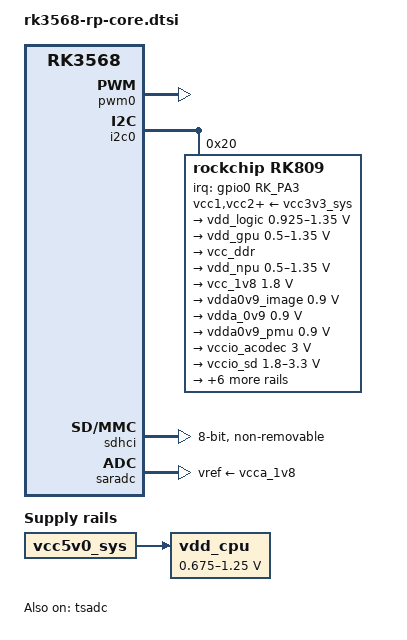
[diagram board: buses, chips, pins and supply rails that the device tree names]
// SPDX-License-Identifier: (GPL-2.0+ OR MIT)
/* RP-RK3568-C-V11 core: supplies cross-checked against the live BSP DT. */
#include <dt-bindings/gpio/gpio.h>
#include <dt-bindings/pinctrl/rockchip.h>
#include <dt-bindings/pwm/pwm.h>
#include "rk3568.dtsi"

/ {
	reserved-memory {
		#address-cells = <2>;
		#size-cells = <2>;
		ranges;

		/* The public image's BL32 remains active when chainloading U-Boot. */
		legacy_tee: tee@8400000 {
			reg = <0x0 0x08400000 0x0 0x01000000>;
			no-map;
		};
	};
	vdd_cpu: regulator-vdd-cpu {
		compatible = "pwm-regulator";
		pwms = <&pwm0 0 5000 PWM_POLARITY_INVERTED>;
		regulator-name = "vdd_cpu";
		regulator-min-microvolt = <675000>;
		regulator-max-microvolt = <1250000>;
		regulator-always-on;
		regulator-boot-on;
		regulator-settling-time-up-us = <250>;
		pwm-supply = <&vcc5v0_sys>;
	};
};

&cpu0 { cpu-supply = <&vdd_cpu>; };
&cpu1 { cpu-supply = <&vdd_cpu>; };
&cpu2 { cpu-supply = <&vdd_cpu>; };
&cpu3 { cpu-supply = <&vdd_cpu>; };
&pwm0 { status = "okay"; };

&i2c0 {
	status = "okay";
	rk809: pmic@20 {
		compatible = "rockchip,rk809";
		reg = <0x20>;
		interrupt-parent = <&gpio0>;
		interrupts = <RK_PA3 IRQ_TYPE_LEVEL_LOW>;
		#clock-cells = <1>;
		pinctrl-names = "default";
		pinctrl-0 = <&pmic_int &pmic_pins>;
		system-power-controller;
		#sound-dai-cells = <0>;
		vcc1-supply = <&vcc3v3_sys>;
		vcc2-supply = <&vcc3v3_sys>;
		vcc3-supply = <&vcc3v3_sys>;
		vcc4-supply = <&vcc3v3_sys>;
		vcc5-supply = <&vcc3v3_sys>;
		vcc6-supply = <&vcc3v3_sys>;
		vcc7-supply = <&vcc3v3_sys>;
		vcc8-supply = <&vcc3v3_sys>;
		vcc9-supply = <&vcc3v3_sys>;
		wakeup-source;

		regulators {
			vdd_logic: DCDC_REG1 {
				regulator-name = "vdd_logic";
				regulator-always-on;
				regulator-boot-on;
				regulator-initial-mode = <0x2>;
				regulator-min-microvolt = <925000>;
				regulator-max-microvolt = <1350000>;
				regulator-ramp-delay = <6001>;

				regulator-state-mem {
					regulator-off-in-suspend;
				};
			};

			vdd_gpu: DCDC_REG2 {
				regulator-boot-on;
				regulator-name = "vdd_gpu";
				regulator-always-on;
				regulator-initial-mode = <0x2>;
				regulator-min-microvolt = <500000>;
				regulator-max-microvolt = <1350000>;
				regulator-ramp-delay = <6001>;

				regulator-state-mem {
					regulator-off-in-suspend;
				};
			};

			vcc_ddr: DCDC_REG3 {
				regulator-name = "vcc_ddr";
				regulator-always-on;
				regulator-boot-on;
				regulator-initial-mode = <0x2>;

				regulator-state-mem {
					regulator-on-in-suspend;
				};
			};

			vdd_npu: DCDC_REG4 {
				regulator-always-on;
				regulator-boot-on;
				regulator-name = "vdd_npu";
				regulator-initial-mode = <0x2>;
				regulator-min-microvolt = <500000>;
				regulator-max-microvolt = <1350000>;
				regulator-ramp-delay = <6001>;

				regulator-state-mem {
					regulator-off-in-suspend;
				};
			};

			vcc_1v8: DCDC_REG5 {
				regulator-name = "vcc_1v8";
				regulator-always-on;
				regulator-boot-on;
				regulator-min-microvolt = <1800000>;
				regulator-max-microvolt = <1800000>;

				regulator-state-mem {
					regulator-off-in-suspend;
				};
			};

			vdda0v9_image: LDO_REG1 {
				regulator-always-on;
				regulator-boot-on;
				regulator-name = "vdda0v9_image";
				regulator-min-microvolt = <900000>;
				regulator-max-microvolt = <900000>;

				regulator-state-mem {
					regulator-off-in-suspend;
				};
			};

			vdda_0v9: LDO_REG2 {
				regulator-name = "vdda_0v9";
				regulator-always-on;
				regulator-boot-on;
				regulator-min-microvolt = <900000>;
				regulator-max-microvolt = <900000>;

				regulator-state-mem {
					regulator-off-in-suspend;
				};
			};

			vdda0v9_pmu: LDO_REG3 {
				regulator-name = "vdda0v9_pmu";
				regulator-always-on;
				regulator-boot-on;
				regulator-min-microvolt = <900000>;
				regulator-max-microvolt = <900000>;

				regulator-state-mem {
					regulator-on-in-suspend;
					regulator-suspend-microvolt = <900000>;
				};
			};

			vccio_acodec: LDO_REG4 {
				regulator-name = "vccio_acodec";
				regulator-always-on;
				regulator-min-microvolt = <3000000>;
				regulator-max-microvolt = <3000000>;

				regulator-state-mem {
					regulator-off-in-suspend;
				};
			};

			vccio_sd: LDO_REG5 {
				regulator-always-on;
				regulator-boot-on;
				regulator-name = "vccio_sd";
				regulator-min-microvolt = <1800000>;
				regulator-max-microvolt = <3300000>;

				regulator-state-mem {
					regulator-off-in-suspend;
				};
			};

			vcc3v3_pmu: LDO_REG6 {
				regulator-name = "vcc3v3_pmu";
				regulator-always-on;
				regulator-boot-on;
				regulator-min-microvolt = <3300000>;
				regulator-max-microvolt = <3300000>;

				regulator-state-mem {
					regulator-on-in-suspend;
					regulator-suspend-microvolt = <3300000>;
				};
			};

			vcca_1v8: LDO_REG7 {
				regulator-name = "vcca_1v8";
				regulator-always-on;
				regulator-boot-on;
				regulator-min-microvolt = <1800000>;
				regulator-max-microvolt = <1800000>;

				regulator-state-mem {
					regulator-off-in-suspend;
				};
			};

			vcca1v8_pmu: LDO_REG8 {
				regulator-name = "vcca1v8_pmu";
				regulator-always-on;
				regulator-boot-on;
				regulator-min-microvolt = <1800000>;
				regulator-max-microvolt = <1800000>;

				regulator-state-mem {
					regulator-on-in-suspend;
					regulator-suspend-microvolt = <1800000>;
				};
			};

			vcca1v8_image: LDO_REG9 {
				regulator-name = "vcca1v8_image";
				regulator-min-microvolt = <1800000>;
				regulator-max-microvolt = <1800000>;

				regulator-state-mem {
					regulator-off-in-suspend;
				};
			};

			vcc_3v3: SWITCH_REG1 {
				regulator-name = "vcc_3v3";
				regulator-always-on;
				regulator-boot-on;

				regulator-state-mem {
					regulator-off-in-suspend;
				};
			};

			vcc3v3_sd: SWITCH_REG2 {
				regulator-always-on;
				regulator-boot-on;
				regulator-name = "vcc3v3_sd";

				regulator-state-mem {
					regulator-off-in-suspend;
				};
			};
		};

	};
};

&pinctrl {
	pmic {
		pmic_int: pmic-int {
			rockchip,pins = <0 RK_PA3 RK_FUNC_GPIO &pcfg_pull_up>;
		};
	};
};

&pmu_io_domains {
	pmuio2-supply = <&vcc3v3_pmu>;
	vccio1-supply = <&vccio_acodec>;
	vccio3-supply = <&vccio_sd>;
	vccio4-supply = <&vcc_1v8>;
	vccio5-supply = <&vcc_3v3>;
	vccio6-supply = <&vcc_1v8>;
	vccio7-supply = <&vcc_3v3>;
	status = "okay";
};

&sdhci {
	bus-width = <8>;
	max-frequency = <200000000>;
	non-removable;
	pinctrl-names = "default";
	pinctrl-0 = <&emmc_bus8 &emmc_clk &emmc_cmd &emmc_datastrobe>;
	status = "okay";
};

&tsadc {
	rockchip,hw-tshut-mode = <1>;
	rockchip,hw-tshut-polarity = <0>;
	status = "okay";
};

&saradc {
	vref-supply = <&vcca_1v8>;
	status = "okay";
};
